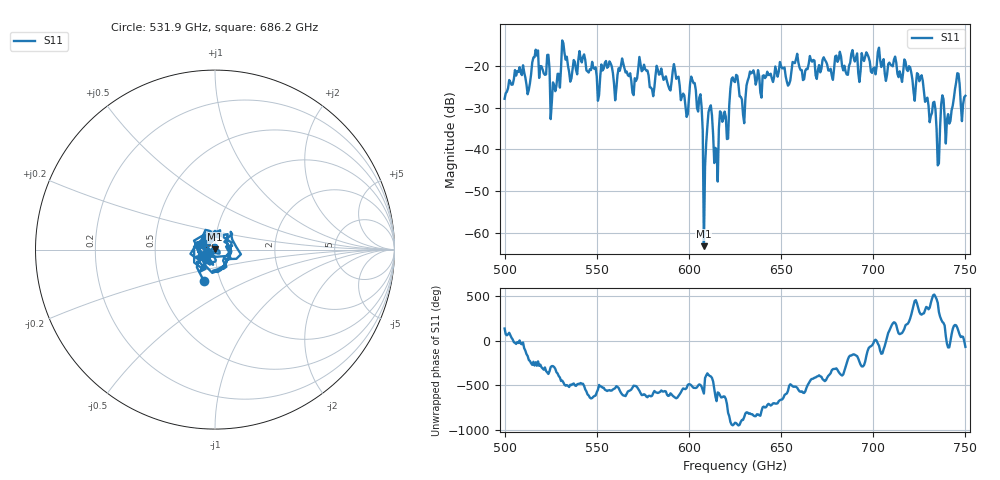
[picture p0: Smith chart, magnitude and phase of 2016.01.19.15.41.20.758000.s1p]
!Created with skrf (http://scikit-rf.org).
# GHz S RI R 50.0
!freq ReS11 ImS11
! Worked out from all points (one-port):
!   401 points, 500 GHz to 750 GHz, reference 50 ohm
!   lowest |S11| = -63.1 dB at 608.1 GHz (marker M1), VSWR 1.00, Z = 50 + j0.057 ohm
!   |S11| at or under -10 dB: start of sweep to end of sweep
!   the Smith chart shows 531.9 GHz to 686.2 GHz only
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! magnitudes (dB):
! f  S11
! 500 GHz  -27.9
! 506.9 GHz  -21.3
! 513.1 GHz  -25.8
! 516.9 GHz  -16.2
! 526.2 GHz  -24.0
! 531.2 GHz  -14.0
! 550.6 GHz  -28.4
! 562.5 GHz  -21.2
! 593.8 GHz  -22.7
! 598.8 GHz  -32.2
! 602.5 GHz  -24.1
! 606.2 GHz  -26.8
! 608.1 GHz  -63.1
! 609.4 GHz  -38.4
! 611.2 GHz  -30.1
! 615 GHz  -40.1
! 617.5 GHz  -31.3
! 620.6 GHz  -37.5
! 625 GHz  -23.9
! 629.4 GHz  -31.7
! 633.8 GHz  -21.8
! 656.2 GHz  -19.1
! 687.5 GHz  -19.3
! 718.8 GHz  -21.3
! 725.6 GHz  -22.9
! 735 GHz  -43.8
! 745.6 GHz  -21.8
! 750 GHz  -27.2
